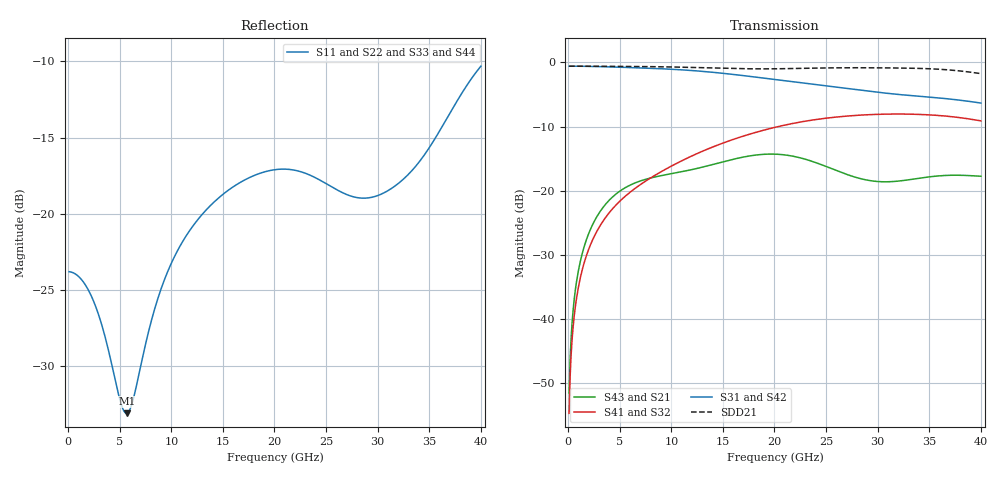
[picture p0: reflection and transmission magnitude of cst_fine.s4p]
! E_s8_L1L8_p800_round_g2: pair L1→L8, pitch 0.8 mm, two round antipads, 2 GND vias
! stackup: 8-layer 1.6 mm FR-4 (generic)
! ports: 1 P near, 2 N near, 3 P far, 4 N far
! CST Studio Suite 2025.5 Release from 2025-05-30, time domain (FIT, hexahedral, PBA), 394240 mesh cells, 88 s
! mesh: {'lpw': 30.0, 'lpb': 30.0, 'minstep': 0.0, 'ratio': 20}; ports: port 1 (face); port 2 (face); port 3 (face); port 4 (face)
! interpolated from CST's 1001 samples to the case grid
# Hz S RI R 50
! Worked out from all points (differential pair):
!   400 points, 100 MHz to 40 GHz, reference 50 ohm
!   strongest paths, dB at 100 MHz, 10.1 GHz, 20.1 GHz, 30.1 GHz, 40 GHz:
!     S31: -0.6, -1.1, -2.7, -4.7, -6.3
!     S42: -0.6, -1.1, -2.7, -4.7, -6.3
!     S41: -54.7, -16.1, -10.1, -8.1, -9.1
!     S32: -54.7, -16.1, -10.1, -8.1, -9.1
!     S43: -51.6, -17.3, -14.3, -18.6, -17.8
!     S21: -51.6, -17.3, -14.3, -18.6, -17.8
!   taken as a pair (ports 1,2 in; 3,4 out), SDD21 dB: -0.6, -0.7, -1.0, -0.8, -1.7
!   lowest |S11| = -33.1 dB at 5.7 GHz (marker M1), VSWR 1.05, Z = 48.5 + j1.62 ohm
!   |S11| at or under -10 dB: start of sweep to end of sweep
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1e8  -0.0646 0.00212  0.0012 0.00234  0.934 -0.0359  0.000392 -0.00179
     0.0012 0.00234  -0.0646 0.00212  0.000392 -0.00179  0.934 -0.0359
     0.934 -0.0359  0.000392 -0.00179  -0.0646 0.00212  0.0012 0.00234
     0.000392 -0.00179  0.934 -0.0359  0.0012 0.00234  -0.0646 0.00212
5.7e9  -0.0147 0.0166  0.0809 -0.0702  -0.523 -0.7487  -0.0681 0.063
       0.0809 -0.0702  -0.0147 0.0166  -0.0681 0.063  -0.523 -0.7487
       -0.523 -0.7487  -0.0681 0.063  -0.0147 0.0166  0.0809 -0.0702
       -0.0681 0.063  -0.523 -0.7487  0.0809 -0.0702  -0.0147 0.0166
1.21e10  0.0505 0.0761  -0.1463 0.00632  -0.0744 0.8599  0.1875 -0.015
         -0.1463 0.00632  0.0505 0.0761  0.1875 -0.015  -0.0744 0.8599
         -0.0744 0.8599  0.1875 -0.015  0.0505 0.0761  -0.1463 0.00632
         0.1875 -0.015  -0.0744 0.8599  -0.1463 0.00632  0.0505 0.0761
2.01e10  -0.04 -0.1339  0.1924 -0.000212  0.1443 -0.7206  -0.3087 0.0475
         0.1924 -0.000212  -0.04 -0.1339  -0.3087 0.0475  0.1443 -0.7206
         0.1443 -0.7206  -0.3087 0.0475  -0.04 -0.1339  0.1924 -0.000215
         -0.3087 0.0475  0.1443 -0.7206  0.1924 -0.000215  -0.04 -0.1339
2.87e10  -0.0117 0.112  -0.1165 0.0364  -0.0942 0.5949  0.3286 -0.2092
         -0.1165 0.0364  -0.0117 0.112  0.3286 -0.2092  -0.0942 0.5949
         -0.0942 0.5949  0.3286 -0.2092  -0.0117 0.112  -0.1165 0.0364
         0.3286 -0.2092  -0.0942 0.5949  -0.1165 0.0364  -0.0117 0.112
3.36e10  0.1329 0.0507  0.1049 0.0651  0.5467 -0.0363  -0.3374 -0.2033
         0.1049 0.0651  0.1329 0.0507  -0.3374 -0.2033  0.5467 -0.0363
         0.5467 -0.0363  -0.3374 -0.2033  0.1329 0.0507  0.1049 0.0651
         -0.3374 -0.2033  0.5467 -0.0363  0.1049 0.0651  0.1329 0.0507
4e10  0.0783 -0.2949  -0.1091 -0.0696  -0.379 -0.2978  0.1773 0.3015
      -0.1091 -0.0696  0.0783 -0.2949  0.1773 0.3015  -0.379 -0.2978
      -0.379 -0.2978  0.1773 0.3015  0.0783 -0.2949  -0.1091 -0.0696
      0.1773 0.3015  -0.379 -0.2978  -0.1091 -0.0696  0.0783 -0.2949
